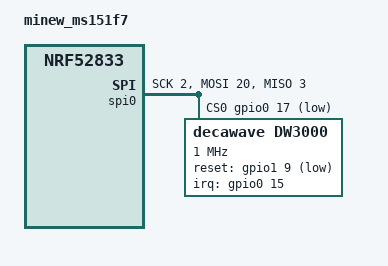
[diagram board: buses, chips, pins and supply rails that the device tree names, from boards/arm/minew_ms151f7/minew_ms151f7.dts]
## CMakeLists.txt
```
# SPDX-License-Identifier: Apache-2.0

cmake_minimum_required(VERSION 3.20.0)

# add the dw3000-decadriver directory as a zephyr module by hand, not needed when using west
list(APPEND ZEPHYR_EXTRA_MODULES ${CMAKE_CURRENT_SOURCE_DIR}/dw3000-decadriver/)

#set(SHIELD qorvo_dws3000)

find_package(Zephyr REQUIRED HINTS $ENV{ZEPHYR_BASE})
project(dw3000-examples)

# the binary only library from Qorvo has problems with -Os or -O2
zephyr_library_compile_options(-O1)

## example selection (select one of below) by calling cmake -DEXAMPLE=NAME
## or by uncommenting ONE add_definitions() below
if (DEFINED EXAMPLE)
	add_definitions(-DTEST_${EXAMPLE})
else()
	add_definitions(-DTEST_READING_DEV_ID)
endif()

#add_definitions(-DTEST_READING_DEV_ID)
#add_definitions(-DTEST_SIMPLE_TX)
#add_definitions(-DTEST_SIMPLE_TX_PDOA)
#add_definitions(-DTEST_SIMPLE_RX)
#add_definitions(-DTEST_RX_SNIFF)
#add_definitions(-DTEST_RX_TRIM)
#add_definitions(-DTEST_RX_DIAG)
#add_definitions(-DTEST_TX_SLEEP)
#add_definitions(-DTEST_TX_SLEEP_IDLE_RC)
#add_definitions(-DTEST_TX_SLEEP_TIMED)
#add_definitions(-DTEST_TX_SLEEP_AUTO)
#add_definitions(-DTEST_TX_WITH_CCA)
#add_definitions(-DTEST_SIMPLE_TX_AES)
#add_definitions(-DTEST_SIMPLE_RX_AES)
#add_definitions(-DTEST_TX_WAIT_RESP)
#add_definitions(-DTEST_TX_WAIT_RESP_INT)
#add_definitions(-DTEST_RX_SEND_RESP)
#add_definitions(-DTEST_SS_TWR_RESPONDER)
#add_definitions(-DTEST_SS_TWR_INITIATOR)
#add_definitions(-DTEST_SS_TWR_INITIATOR_STS)
#add_definitions(-DTEST_SS_TWR_RESPONDER_STS)
#add_definitions(-DTEST_SS_TWR_INITIATOR_STS_NO_DATA)
#add_definitions(-DTEST_SS_TWR_RESPONDER_STS_NO_DATA)
#(broken) add_definitions(-DTX_RX_AES_VERIFICATION)
#add_definitions(-DTEST_AES_SS_TWR_INITIATOR)
#add_definitions(-DTEST_AES_SS_TWR_RESPONDER)
#add_definitions(-DTEST_DS_TWR_INITIATOR)
#add_definitions(-DTEST_DS_TWR_RESPONDER)
#add_definitions(-DTEST_DS_TWR_RESPONDER_STS)
#add_definitions(-DTEST_DS_TWR_INITIATOR_STS)
#add_definitions(-DTEST_DS_TWR_STS_SDC_INITIATOR)
#add_definitions(-DTEST_DS_TWR_STS_SDC_RESPONDER)
#add_definitions(-DTEST_CONTINUOUS_WAVE)
#add_definitions(-DTEST_CONTINUOUS_FRAME)
#add_definitions(-DTEST_ACK_DATA_RX)
#add_definitions(-DTEST_ACK_DATA_TX)
#add_definitions(-DTEST_GPIO)
#add_definitions(-DTEST_SIMPLE_TX_STS_SDC)
#add_definitions(-DTEST_SIMPLE_RX_STS_SDC)
#(broken) add_definitions(-DTEST_FRAME_FILTERING_TX)
#(broken) add_definitions(-DTEST_FRAME_FILTERING_RX)
#add_definitions(-DTEST_ACK_DATA_RX_DBL_BUFF)
#add_definitions(-DTEST_SPI_CRC)
#add_definitions(-DTEST_SIMPLE_RX_PDOA)
#add_definitions(-DTEST_OTP_WRITE)
#add_definitions(-DTEST_LE_PEND_TX)
#add_definitions(-DTEST_LE_PEND_RX)

target_sources(app PRIVATE src/main.c)

target_sources(app PRIVATE platform/port.c platform/config_options.c)
target_sources(app PRIVATE MAC_802_15_8/mac_802_15_8.c)
target_sources(app PRIVATE MAC_802_15_4/mac_802_15_4.c)

FILE(GLOB ex_sources examples/*/*.c)
target_sources(app PRIVATE ${ex_sources})

target_include_directories(app PRIVATE platform)
target_include_directories(app PRIVATE examples/shared_data)
target_include_directories(app PRIVATE MAC_802_15_8)
target_include_directories(app PRIVATE MAC_802_15_4)
```

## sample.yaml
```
sample:
  description:
  name: zephyr-dw3000-examples
```

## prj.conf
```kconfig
CONFIG_DW3000=y
CONFIG_SPI=y

# newlib is used to include extended math.h funcions (e.g. fabs())
CONFIG_NEWLIB_LIBC=y

CONFIG_CONSOLE=y
CONFIG_RTT_CONSOLE=y
CONFIG_USE_SEGGER_RTT=y
CONFIG_UART_CONSOLE=n
CONFIG_LOG=y
CONFIG_LOG_MODE_MINIMAL=y
```

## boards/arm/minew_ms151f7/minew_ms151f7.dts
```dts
// Copyright (c) 2022 Nordic Semiconductor ASA
// SPDX-License-Identifier: Apache-2.0

/dts-v1/;
#include <nordic/nrf52833_qiaa.dtsi>

/ {
	model = "minew_ms151f7";
	compatible = "minew,minew-ms151f7";

	chosen {
		zephyr,sram = &sram0;
		zephyr,flash = &flash0;
		zephyr,code-partition = &slot0_partition;
	};
};

&flash0 {
	partitions {
		compatible = "fixed-partitions";
		#address-cells = <1>;
		#size-cells = <1>;

		boot_partition: partition@0 {
			label = "mcuboot";
			reg = <0x0 0xc000>;
		};
		slot0_partition: partition@c000 {
			label = "image-0";
			reg = <0xc000 0x32000>;
		};
		slot1_partition: partition@3e000 {
			label = "image-1";
			reg = <0x3e000 0x32000>;
		};
		scratch_partition: partition@70000 {
			label = "image-scratch";
			reg = <0x70000 0xa000>;
		};
		storage_partition: partition@7a000 {
			label = "storage";
			reg = <0x7a000 0x6000>;
		};
	};
};

&gpio0 {
	status = "okay";
};

&gpio1 {
	status = "okay";
};

&spi0 {
	status = "okay";
	sck-pin = <2>;
	mosi-pin = <20>;
	miso-pin = <3>;
	cs-gpios = <&gpio0 17 GPIO_ACTIVE_LOW>;

	dw3000@0 {
		compatible = "decawave,dw3000";
		label = "DW3000";
		spi-max-frequency = <1000000>;
		reg = <0>;
		reset-gpios = <&gpio1 9 GPIO_ACTIVE_LOW>;
		irq-gpios = <&gpio0 15 GPIO_ACTIVE_HIGH>;
	};
};
```

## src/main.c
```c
/*
 * Copyright (c) 2022 Bruno Randolf <br1@einfach.org>
 *
 * SPDX-License-Identifier: Apache-2.0
 */

#include <zephyr.h>
#include <sys/printk.h>

#include <dw3000_hw.h>
#include "../examples_info/examples_defines.h"

extern example_ptr example_pointer;

void test_run_info(unsigned char *data)
{
    printk("%s\n", data);
}

void main(void)
{
	printk("DW3000 Examples on %s\n", CONFIG_BOARD);

	dw3000_hw_init();
	dw3000_hw_reset();

	build_examples();

	if (example_pointer != NULL) {
		example_pointer();
	} else {
		printk("NO EXAMPLE COMPILED IN\n");
	}
}
```
